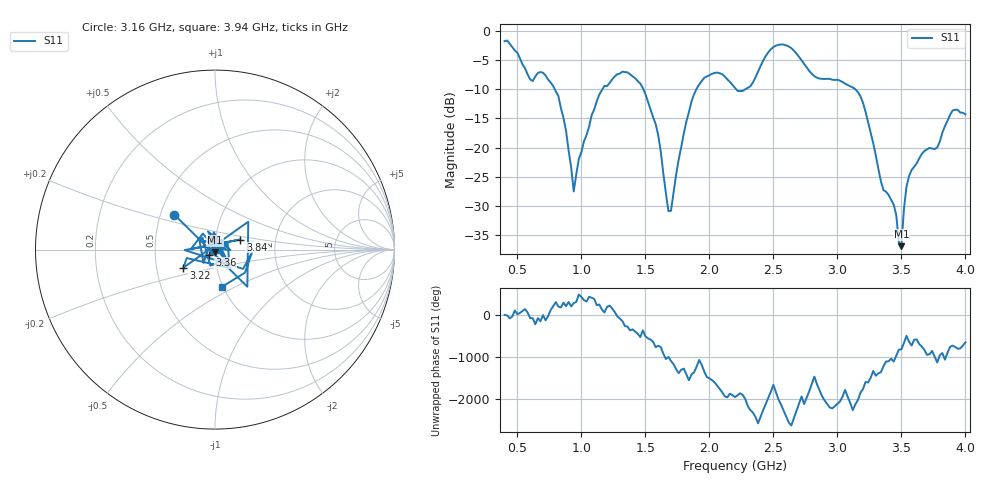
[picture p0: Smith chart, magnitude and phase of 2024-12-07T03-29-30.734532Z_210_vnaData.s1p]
!Created with skrf (http://scikit-rf.org).
# Hz S RI R 50.0
!freq ReS11 ImS11
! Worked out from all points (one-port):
!   181 points, 400 MHz to 4 GHz, reference 50 ohm
!   lowest |S11| = -36.9 dB at 3.5 GHz (marker M1), VSWR 1.03, Z = 50 - j1.43 ohm
!   |S11| at or under -10 dB: 791.3 MHz to 1.165 GHz (373.5 MHz wide, 38.2 % of centre); 1.484 GHz to 1.899 GHz (415 MHz wide, 24.5 % of centre); 3.139 GHz to end of sweep (the widest 3 of 4)
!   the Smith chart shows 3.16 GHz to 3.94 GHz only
!   S11 on the Smith chart (normalised r, x): 3.16 GHz: 0.59, +0.25; 3.22 GHz: 0.69, -0.14; 3.36 GHz: 0.94, -0.06; 3.84 GHz: 1.32, +0.15; 3.94 GHz: 0.99, -0.43
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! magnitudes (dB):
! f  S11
! 400 MHz  -1.8
! 600 MHz  -8.3
! 720 MHz  -7.7
! 860 MHz  -14.9
! 940 MHz  -27.5
! 1.14 GHz  -10.9
! 1.3 GHz  -7.3
! 1.5 GHz  -10.8
! 1.6 GHz  -17.9
! 1.68 GHz  -30.9
! 1.76 GHz  -22.1
! 1.86 GHz  -12.1
! 1.94 GHz  -8.6
! 2.2 GHz  -9.8
! 2.32 GHz  -9.5
! 2.5 GHz  -2.8
! 2.66 GHz  -3.4
! 3.1 GHz  -9.5
! 3.16 GHz  -10.5
! 3.22 GHz  -13.9
! 3.36 GHz  -27.3
! 3.44 GHz  -29.8
! 3.5 GHz  -36.9
! 3.52 GHz  -30.5
! 3.56 GHz  -24.9
! 3.84 GHz  -16.4
! 3.94 GHz  -13.5
! 4 GHz  -14.3
